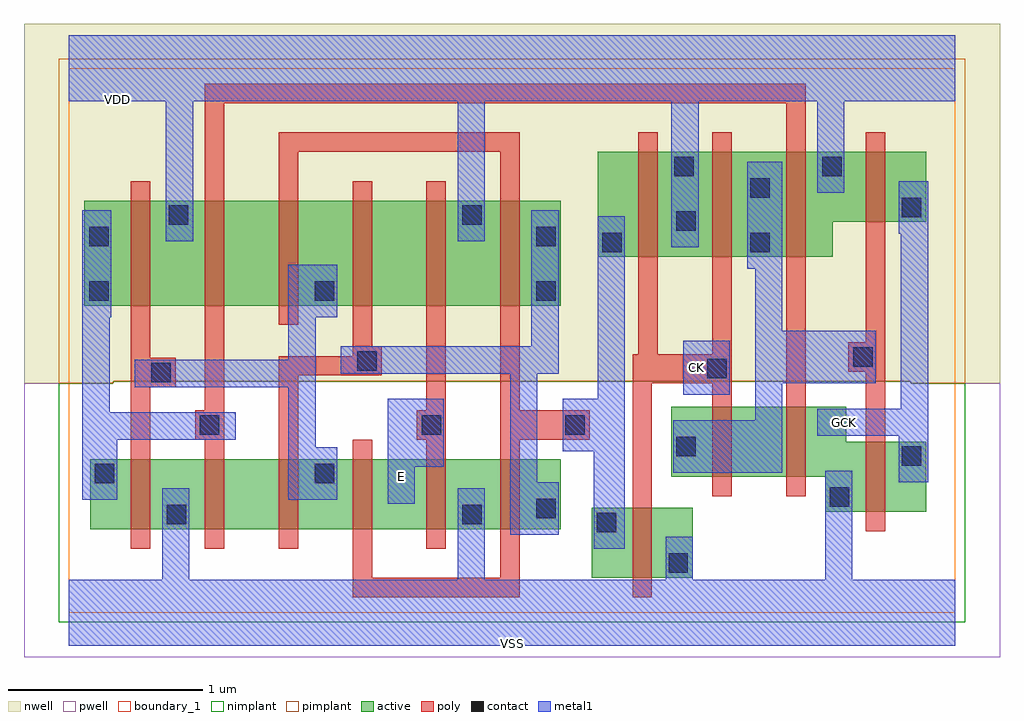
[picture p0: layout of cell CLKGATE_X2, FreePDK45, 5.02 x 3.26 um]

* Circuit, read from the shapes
.subckt CLKGATE_X2 CK E GCK VDD VSS
M1 VSS n1 n2 VSUBS nfet w=0.36u l=0.1u
M2 n3 n2 VSS VSUBS nfet w=0.36u l=0.1u
M3 n1 n4 n3 VSUBS nfet w=0.36u l=0.1u
M4 n5 n6 n1 VSUBS nfet w=0.36u l=0.1u
M5 VSS E n5 VSUBS nfet w=0.36u l=0.1u
M6 n4 n6 VSS VSUBS nfet w=0.36u l=0.1u
M7 VSS CK n6 VSUBS nfet w=0.36u l=0.1u
M8 n7 CK n8 VSUBS nfet w=0.36u l=0.1u
M9 VSS n2 n7 VSUBS nfet w=0.36u l=0.1u
M10 GCK n8 VSS VSUBS nfet w=0.36u l=0.1u
M11 VDD n1 n2 n9 pfet w=0.54u l=0.1u
M12 n10 n2 VDD n9 pfet w=0.54u l=0.1u
M13 n1 n6 n10 n9 pfet w=0.54u l=0.1u
M14 n11 n4 n1 n9 pfet w=0.54u l=0.1u
M15 VDD E n11 n9 pfet w=0.54u l=0.1u
M16 n4 n6 VDD n9 pfet w=0.54u l=0.1u
M17 VDD CK n6 n9 pfet w=0.54u l=0.1u
M18 n8 CK VDD n9 pfet w=0.54u l=0.1u
M19 VDD n2 n8 n9 pfet w=0.54u l=0.1u
M20 GCK n8 VDD n9 pfet w=0.36u l=0.1u
.ends

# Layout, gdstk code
import gdstk
lib = gdstk.Library(unit=1e-6, precision=1e-09)
def R(c, l, rs):  # rectangles x0, y0, x1, y1
    for r in rs: c.add(gdstk.rectangle(r[:2], r[2:], *l))
def P(c, l, *ps):  # polygons
    for p in ps: c.add(gdstk.Polygon(p, *l))
active = (1, 0)
pwell = (2, 0)
nwell = (3, 0)
nimplant = (4, 0)
pimplant = (5, 0)
poly = (9, 0)
contact = (10, 0)
metal1 = (11, 0)
boundary_1 = (235, 1)

clkgate_x2 = lib.new_cell('CLKGATE_X2')
R(clkgate_x2, active, [(2.69,0.18,3.21,0.54), (0.11,0.43,2.53,0.79), (0.08,1.58,2.53,2.12)])
P(clkgate_x2, active, [(2.72,1.83),(3.93,1.83),(3.93,2.01),(4.41,2.01),(4.41,2.37),(2.72,2.37)],
  [(3.1,0.7),(3.89,0.7),(3.89,0.52),(4.41,0.52),(4.41,0.88),(4,0.88),(4,1.06),(3.1,1.06)])
P(clkgate_x2, pwell, [(-0.23,-0.23),(4.79,-0.23),(4.79,1.18),(4.33,1.18),(4.33,1.19),(0.23,1.19),(0.23,1.18),(-0.23,1.18)])
P(clkgate_x2, nwell, [(-0.23,1.18),(0.23,1.18),(0.23,1.19),(4.33,1.19),(4.33,1.18),(4.79,1.18),(4.79,3.03),(-0.23,3.03)])
P(clkgate_x2, nimplant, [(-0.05,-0.05),(4.61,-0.05),(4.61,1.18),(4.33,1.18),(4.33,1.19),(0.23,1.19),(0.23,1.18),(-0.05,1.18)])
P(clkgate_x2, pimplant, [(-0.05,1.18),(0.23,1.18),(0.23,1.19),(4.33,1.19),(4.33,1.18),(4.61,1.18),(4.61,2.85),(-0.05,2.85)])
P(clkgate_x2, poly, [(4.01,1.24),(4.1,1.24),(4.1,0.42),(4.2,0.42),(4.2,2.47),(4.1,2.47),(4.1,1.39),(4.01,1.39)],
  [(0.65,0.89),(0.7,0.89),(0.7,0.33),(0.8,0.33),(0.8,2.62),(3.69,2.62),(3.69,0.6),(3.79,0.6),(3.79,2.72),(0.7,2.72),(0.7,1.04),(0.65,1.04)],
  [(2.9,0.08),(3,0.08),(3,1.18),(3.31,1.18),(3.31,0.6),(3.41,0.6),(3.41,2.47),(3.31,2.47),(3.31,1.33),(3.03,1.33),(3.03,2.47),(2.93,2.47),(2.93,1.33),(2.9,1.33)],
  [(1.08,1.48),(1.18,1.48),(1.18,2.37),(2.22,2.37),(2.22,0.18),(1.56,0.18),(1.56,0.89),(1.46,0.89),(1.46,0.08),(2.32,0.08),(2.32,0.89),(2.68,0.89),(2.68,1.04),(2.32,1.04),(2.32,2.47),(1.08,2.47)],
  [(1.79,0.89),(1.84,0.89),(1.84,0.33),(1.94,0.33),(1.94,2.22),(1.84,2.22),(1.84,1.04),(1.79,1.04)],
  [(1.08,0.33),(1.18,0.33),(1.18,1.22),(1.61,1.22),(1.61,1.37),(1.56,1.37),(1.56,2.22),(1.46,2.22),(1.46,1.32),(1.08,1.32)],
  [(0.32,0.33),(0.42,0.33),(0.42,1.16),(0.55,1.16),(0.55,1.31),(0.42,1.31),(0.42,2.22),(0.32,2.22)])
R(clkgate_x2, contact, [(3.085,0.205,3.185,0.305), (2.715,0.415,2.815,0.515), (0.505,0.455,0.605,0.555), (2.025,0.455,2.125,0.555), (2.405,0.485,2.505,0.585), (3.915,0.545,4.015,0.645), (0.135,0.665,0.235,0.765), (1.265,0.665,1.365,0.765), (4.285,0.755,4.385,0.855), (3.125,0.805,3.225,0.905), (0.675,0.915,0.775,1.015), (1.815,0.915,1.915,1.015), (2.555,0.915,2.655,1.015), (0.425,1.185,0.525,1.285), (3.285,1.205,3.385,1.305), (1.485,1.245,1.585,1.345), (4.035,1.265,4.135,1.365), (0.105,1.605,0.205,1.705), (1.265,1.605,1.365,1.705), (2.405,1.605,2.505,1.705), (2.745,1.855,2.845,1.955), (3.505,1.855,3.605,1.955), (0.105,1.885,0.205,1.985), (2.405,1.885,2.505,1.985), (3.125,1.965,3.225,2.065), (0.515,1.995,0.615,2.095), (2.025,1.995,2.125,2.095), (4.285,2.035,4.385,2.135), (3.505,2.135,3.605,2.235), (3.115,2.245,3.215,2.345), (3.875,2.245,3.975,2.345)])
R(clkgate_x2, metal1, [(3.16,1.12,3.4,1.4), (3.16,1.12,3.4,1.4)])
P(clkgate_x2, metal1, [(1.64,0.56),(1.78,0.56),(1.78,0.75),(1.93,0.75),(1.93,1.1),(1.64,1.1)],
  [(4.27,1.95),(4.28,1.95),(4.28,1.05),(3.85,1.05),(3.85,0.91),(4.27,0.91),(4.27,0.67),(4.42,0.67),(4.42,2.22),(4.27,2.22)],
  [(0,-0.17),(4.56,-0.17),(4.56,0.17),(4.03,0.17),(4.03,0.73),(3.89,0.73),(3.89,0.17),(3.21,0.17),(3.21,0.39),(3.07,0.39),(3.07,0.17),(2.14,0.17),(2.14,0.64),(2,0.64),(2,0.17),(0.62,0.17),(0.62,0.64),(0.48,0.64),(0.48,0.17),(0,0.17)],
  [(0,2.63),(0.5,2.63),(0.5,1.91),(0.64,1.91),(0.64,2.63),(2,2.63),(2,1.91),(2.14,1.91),(2.14,2.63),(3.1,2.63),(3.1,1.88),(3.24,1.88),(3.24,2.63),(3.85,2.63),(3.85,2.16),(3.99,2.16),(3.99,2.63),(4.56,2.63),(4.56,2.97),(0,2.97)],
  [(0,2.63),(0.5,2.63),(0.5,1.91),(0.64,1.91),(0.64,2.63),(2,2.63),(2,1.91),(2.14,1.91),(2.14,2.63),(3.1,2.63),(3.1,1.88),(3.24,1.88),(3.24,2.63),(3.85,2.63),(3.85,2.16),(3.99,2.16),(3.99,2.63),(4.56,2.63),(4.56,2.97),(0,2.97)],
  [(0,-0.17),(4.56,-0.17),(4.56,0.17),(4.03,0.17),(4.03,0.73),(3.89,0.73),(3.89,0.17),(3.21,0.17),(3.21,0.39),(3.07,0.39),(3.07,0.17),(2.14,0.17),(2.14,0.64),(2,0.64),(2,0.17),(0.62,0.17),(0.62,0.64),(0.48,0.64),(0.48,0.17),(0,0.17)],
  [(4.27,1.95),(4.28,1.95),(4.28,1.05),(3.85,1.05),(3.85,0.91),(4.27,0.91),(4.27,0.67),(4.42,0.67),(4.42,2.22),(4.27,2.22)],
  [(3.49,1.77),(3.53,1.77),(3.53,0.99),(3.11,0.99),(3.11,0.72),(3.67,0.72),(3.67,1.18),(4.15,1.18),(4.15,1.45),(3.67,1.45),(3.67,2.32),(3.49,2.32)],
  [(2.54,0.83),(2.7,0.83),(2.7,0.33),(2.86,0.33),(2.86,2.04),(2.72,2.04),(2.72,1.1),(2.54,1.1)],
  [(2.41,1.23),(2.52,1.23),(2.52,2.07),(2.38,2.07),(2.38,1.37),(1.4,1.37),(1.4,1.23),(2.27,1.23),(2.27,0.4),(2.52,0.4),(2.52,0.67),(2.41,0.67)],
  [(1.64,0.56),(1.78,0.56),(1.78,0.75),(1.93,0.75),(1.93,1.1),(1.64,1.1)],
  [(1.27,1.52),(1.38,1.52),(1.38,1.79),(1.13,1.79),(1.13,1.3),(0.34,1.3),(0.34,1.16),(1.13,1.16),(1.13,0.58),(1.38,0.58),(1.38,0.85),(1.27,0.85)],
  [(0.07,0.58),(0.25,0.58),(0.25,0.89),(0.86,0.89),(0.86,1.03),(0.21,1.03),(0.21,1.52),(0.22,1.52),(0.22,2.07),(0.07,2.07)])
R(clkgate_x2, boundary_1, [(0,0,4.56,2.8)])
clkgate_x2.add(gdstk.Label('VSS', (2.28,-0.16), layer=11, texttype=0))
clkgate_x2.add(gdstk.Label('VDD', (0.25,2.64), layer=11, texttype=0))
clkgate_x2.add(gdstk.Label('GCK', (3.99,0.98), layer=11, texttype=0))
clkgate_x2.add(gdstk.Label('E', (1.71,0.7), layer=11, texttype=0))
clkgate_x2.add(gdstk.Label('CK', (3.23,1.26), layer=11, texttype=0))

lib.write_gds('CLKGATE_X2.gds')
